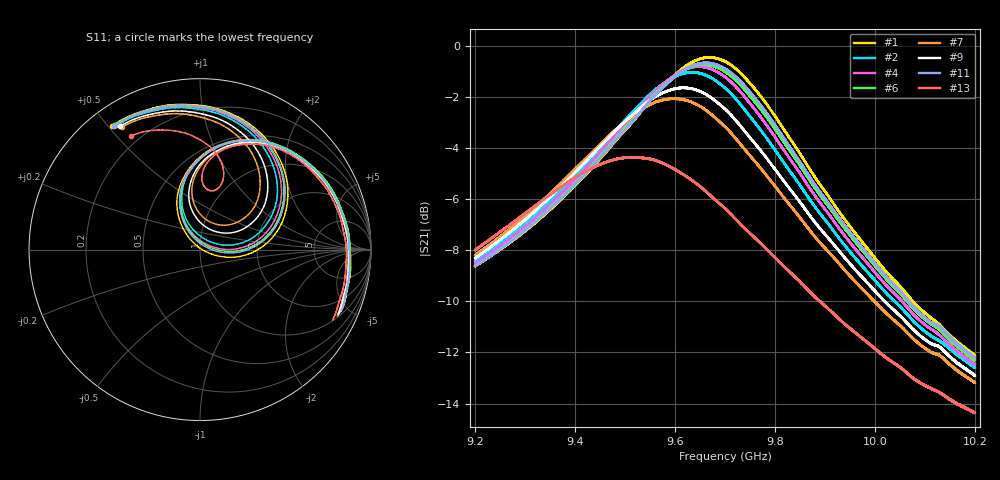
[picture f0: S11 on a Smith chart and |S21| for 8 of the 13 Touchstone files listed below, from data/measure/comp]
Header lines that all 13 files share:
!Agilent Technologies,N5242A,MY51221714,A.09.90.19
!Agilent N5242A: A.09.90.19
!Correction: S11(Full 2 Port(1,2))
!S21(Full 2 Port(1,2))
!S12(Full 2 Port(1,2))
!S22(Full 2 Port(1,2))
!S2P File: Measurements: S11, S21, S12, S22:
# Hz S  dB  R 50
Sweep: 9.2 GHz to 10.2 GHz
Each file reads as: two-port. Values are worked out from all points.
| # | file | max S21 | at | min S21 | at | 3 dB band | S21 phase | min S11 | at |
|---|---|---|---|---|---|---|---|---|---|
| 1 | c0_1.s2p | -0.45 dB | 9.669 GHz | -12.1 dB | 10.2 GHz | 9.493 GHz-9.823 GHz | -125 deg at 9.7 GHz | -43.3 dB | 9.671 GHz |
| 2 | c3_1.s2p | -1.04 dB | 9.633 GHz | -12.6 dB | 10.2 GHz | 9.449 GHz-9.798 GHz | -135 deg at 9.7 GHz | -23.5 dB | 9.638 GHz |
| 3 | c3_2.s2p | -6.19 dB | 9.442 GHz | -15.2 dB | 10.2 GHz | 9.2 GHz-9.734 GHz | -154 deg at 9.7 GHz | -6.9 dB | 9.47 GHz |
| 4 | c4_1.s2p | -0.81 dB | 9.648 GHz | -12.5 dB | 10.2 GHz | 9.467 GHz-9.808 GHz | -132 deg at 9.7 GHz | -26.8 dB | 9.651 GHz |
| 5 | c4_2.s2p | -3.94 dB | 9.537 GHz | -14.1 dB | 10.2 GHz | 9.277 GHz-9.757 GHz | -150 deg at 9.7 GHz | -10.3 dB | 9.542 GHz |
| 6 | c5_1.s2p | -0.73 dB | 9.657 GHz | -12.3 dB | 10.2 GHz | 9.477 GHz-9.816 GHz | -129 deg at 9.7 GHz | -28.2 dB | 9.66 GHz |
| 7 | c5_2.s2p | -2.06 dB | 9.599 GHz | -13.2 dB | 10.2 GHz | 9.388 GHz-9.782 GHz | -142 deg at 9.7 GHz | -15.3 dB | 9.603 GHz |
| 8 | c6_1.s2p | -0.62 dB | 9.663 GHz | -12.2 dB | 10.2 GHz | 9.485 GHz-9.821 GHz | -127 deg at 9.7 GHz | -31.6 dB | 9.666 GHz |
| 9 | c6_2.s2p | -1.64 dB | 9.613 GHz | -12.9 dB | 10.2 GHz | 9.416 GHz-9.792 GHz | -138 deg at 9.7 GHz | -17.6 dB | 9.621 GHz |
| 10 | c7_1.s2p | -0.50 dB | 9.675 GHz | -12.1 dB | 10.2 GHz | 9.496 GHz-9.827 GHz | -124 deg at 9.7 GHz | -39.2 dB | 9.674 GHz |
| 11 | c7_2.s2p | -0.66 dB | 9.661 GHz | -12.2 dB | 10.2 GHz | 9.482 GHz-9.819 GHz | -127 deg at 9.7 GHz | -30.4 dB | 9.665 GHz |
| 12 | c8_1.s2p | -0.88 dB | 9.645 GHz | -12.5 dB | 10.2 GHz | 9.466 GHz-9.809 GHz | -131 deg at 9.7 GHz | -26.5 dB | 9.651 GHz |
| 13 | c8_2.s2p | -4.35 dB | 9.514 GHz | -14.4 dB | 10.2 GHz | 9.246 GHz-9.75 GHz | -151 deg at 9.7 GHz | -9.1 dB | 9.528 GHz |
